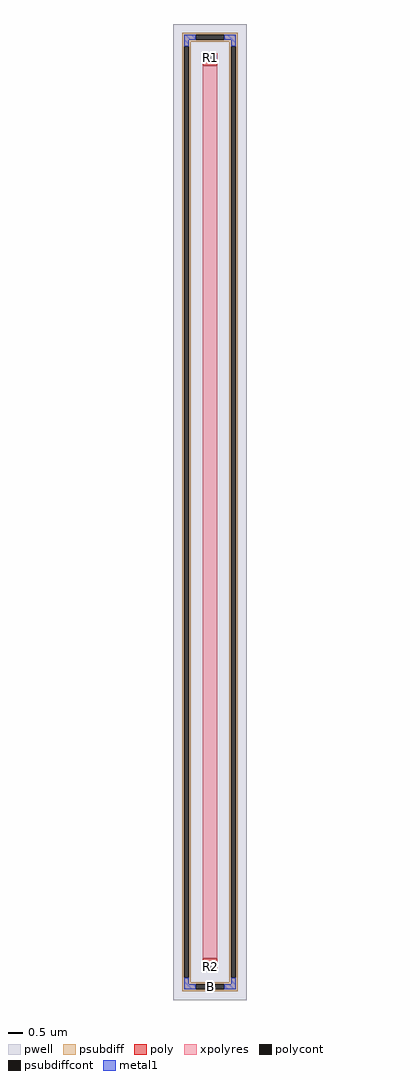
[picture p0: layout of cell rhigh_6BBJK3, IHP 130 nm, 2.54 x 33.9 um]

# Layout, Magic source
magic
tech ihp-sg13cmos5l
<< pwell >>
rect -127 -1695 127 1695
<< psubdiff >>
rect -96 1657 96 1664
rect -96 1641 -50 1657
rect 50 1641 96 1657
rect -96 1634 96 1641
rect -96 1618 -66 1634
rect -96 -1618 -89 1618
rect -73 -1618 -66 1618
rect 66 1618 96 1634
rect -96 -1634 -66 -1618
rect 66 -1618 73 1618
rect 89 -1618 96 1618
rect 66 -1634 96 -1618
rect -96 -1641 96 -1634
rect -96 -1657 -50 -1641
rect 50 -1657 96 -1641
rect -96 -1664 96 -1657
<< psubdiffcont >>
rect -50 1641 50 1657
rect -89 -1618 -73 1618
rect 73 -1618 89 1618
rect -50 -1657 50 -1641
<< poly >>
rect -25 1586 25 1593
rect -25 1570 -18 1586
rect 18 1570 25 1586
rect -25 1550 25 1570
rect -25 -1570 25 -1550
rect -25 -1586 -18 -1570
rect 18 -1586 25 -1570
rect -25 -1593 25 -1586
<< polycont >>
rect -18 1570 18 1586
rect -18 -1586 18 -1570
<< xpolyres >>
rect -25 -1550 25 1550
<< metal1 >>
rect -89 1641 -50 1657
rect 50 1641 89 1657
rect -89 1618 -73 1641
rect 73 1618 89 1641
rect -23 1570 -18 1586
rect 18 1570 23 1586
rect -23 -1586 -18 -1570
rect 18 -1586 23 -1570
rect -89 -1641 -73 -1618
rect 73 -1641 89 -1618
rect -89 -1657 -50 -1641
rect 50 -1657 89 -1641
<< labels >>
rlabel psubdiffcont 0 -1649 0 -1649 0 B
port 4 nsew
rlabel polycont 0 1578 0 1578 0 R1
port 5 nsew
rlabel polycont 0 -1578 0 -1578 0 R2
port 6 nsew
<< properties >>
string FIXED_BBOX -81 -1649 81 1649
string gencell rhigh
string library sg13cmos5l
string MASKHINTS_CONTBAR -25 -1593 25 1593
string parameters w 0.5 l 31.0 m 1 nx 1 wmin 0.50 lmin 0.50 class resistor rho 1360 val 84.32k dummy 0 dw 0.0 term 0.0 sterm 0.0 caplen 0 bar 1 guard 1 glc 1 grc 1 gtc 1 gbc 1 snake 0 full_metal 1 n_guard 0 hv_guard 0 vias 0 viagb 0 viagt 0 viagl 0 viagr 0 doports 1
<< end >>
